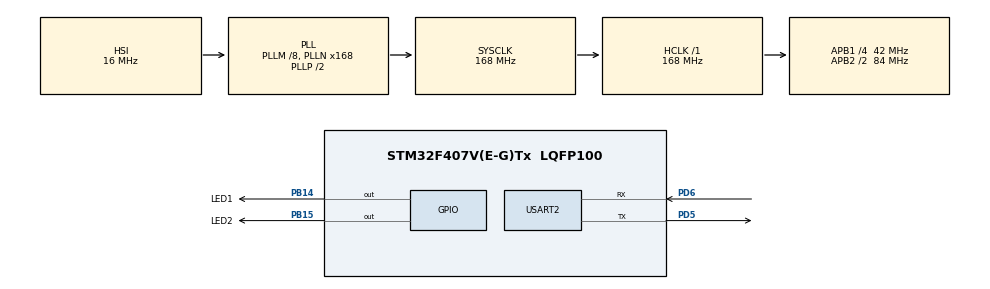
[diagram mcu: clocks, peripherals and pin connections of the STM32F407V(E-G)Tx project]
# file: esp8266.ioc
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Mcu.Family=STM32F4
Mcu.Name=STM32F407V(E-G)Tx
Mcu.Package=LQFP100
NVIC.PriorityGroup=NVIC_PRIORITYGROUP_4
NVIC.USART2_IRQn=true\:0\:0\:false\:false\:true\:true\:true
PA13.Mode=Serial_Wire
PA13.Signal=SYS_JTMS-SWDIO
PA14.Mode=Serial_Wire
PA14.Signal=SYS_JTCK-SWCLK
PB14.GPIO_Label=LED1
PB14.Signal=GPIO_Output
PB15.GPIO_Label=LED2
PB15.Signal=GPIO_Output
PD5.Mode=Asynchronous
PD5.Signal=USART2_TX
PD6.Mode=Asynchronous
PD6.Signal=USART2_RX
ProjectManager.HeapSize=0x200
ProjectManager.StackSize=0x400
ProjectManager.TargetToolchain=MDK-ARM V5.27
RCC.48MHZClocksFreq_Value=84000000
RCC.AHBFreq_Value=168000000
RCC.APB1CLKDivider=RCC_HCLK_DIV4
RCC.APB1Freq_Value=42000000
RCC.APB1TimFreq_Value=84000000
RCC.APB2CLKDivider=RCC_HCLK_DIV2
RCC.APB2Freq_Value=84000000
RCC.APB2TimFreq_Value=168000000
RCC.CortexFreq_Value=168000000
RCC.HCLKFreq_Value=168000000
RCC.HSE_VALUE=25000000
RCC.HSI_VALUE=16000000
RCC.LSE_VALUE=32768
RCC.PLLM=8
RCC.PLLN=168
RCC.SYSCLKFreq_VALUE=168000000
RCC.SYSCLKSource=RCC_SYSCLKSOURCE_PLLCLK
RCC.VCOOutputFreq_Value=336000000
USART2.VirtualMode=VM_ASYNC
board=custom

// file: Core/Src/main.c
/* USER CODE BEGIN Header */
/**
  ******************************************************************************
  * @file           : main.c
  * @brief          : Main program body
  ******************************************************************************
  * @attention
  *
  * <h2><center>&copy; Copyright (c) 2021 STMicroelectronics.
  * All rights reserved.</center></h2>
  *
  * This software component is licensed by ST under BSD 3-Clause license,
  * the "License"; You may not use this file except in compliance with the
  * License. You may obtain a copy of the License at:
  *                        opensource.org/licenses/BSD-3-Clause
  *
  ******************************************************************************
  */
/* USER CODE END Header */
#include "main.h"
#include "usart.h"
#include "gpio.h"

/* USER CODE BEGIN Includes */
#include "string.h"
#include "stdlib.h"
/* USER CODE END Includes */

/* USER CODE BEGIN PD */
#define Timeout 5000
/* USER CODE END PD */

/* USER CODE BEGIN PV */
extern UART_HandleTypeDef huart2;
uint8_t rx,rx_buff[500],count = 0,ok_flag = 0,led_flag = 0;
uint32_t tickstart;
char str[50],lenbuff[5];
char *a1,*a2;
int a3,len;
char ip[15],data_rec[20];
/* USER CODE END PV */

void SystemClock_Config(void);

/* USER CODE BEGIN 0 */
/**
  * @brief  Rx Transfer completed callbacks.
  * @param  huart  Pointer to a UART_HandleTypeDef structure that contains
  *                the configuration information for the specified UART module.
  * @retval None
  */
void HAL_UART_RxCpltCallback(UART_HandleTypeDef *huart)
{
		if(huart->Instance == USART2)
		{
			HAL_UART_Receive_IT(&huart2,&rx,1);
			rx_buff[count++] = rx;
			if(rx_buff[count - 1] == 0x0a && rx_buff[count - 2] == 0x0d && rx_buff[count - 3] == 'K' && rx_buff[count - 4] == 'O')
			{
			  ok_flag = 1;

			}

			if(strstr(rx_buff,"\r\n+IPD") && rx_buff[count - 1] == '+')
			{
				//,7:LED1_ON
				//,34:
				a1 = strstr(rx_buff,",");
				a2 = strstr(rx_buff,":");
				a3 = a2 - a1 -1;
				strncpy(lenbuff,a1+1,a3);
				len = atoi(lenbuff) -1;
				strncpy(data_rec,a2+1,len);
				led_flag = 1;

			}

		}
}

uint8_t ESP_SENDCOMMAND(char* command)
{
	HAL_UART_Transmit(&huart2,(uint8_t*)command,strlen(command),Timeout);
	tickstart = HAL_GetTick();
	while(ok_flag == 0 && (HAL_GetTick() - tickstart) < Timeout );
	if(ok_flag)
	{
		//get ip
		a1 = strstr(rx_buff,"APIP");
		if(a1)
		{
			a2 = a1 + 6;
			int i;
			for(i=0 ; i < 15 ;i++)
			 if(a2[i] == 0x22)
				 break;

		  strncpy(ip,a2,i);

		}

		//}
		//getip end

		//get data

		ok_flag = 0;
		count = 0;
		memset(rx_buff,0,sizeof(rx_buff));
		return 0;
	}
	else if((HAL_GetTick() - tickstart) >= Timeout)
	{
	  return 1;
	}

}

uint8_t ESP_INIT(void)
{
   sprintf(str,"AT+RST\r\n");
	 if(ESP_SENDCOMMAND(str)) return 1;
	 sprintf(str,"AT\r\n");
	 if(ESP_SENDCOMMAND(str)) return 1;

	 return 0;

}

uint8_t ESP_CONNECT_SERVER(void)
{
  sprintf(str,"AT+CWMODE=2\r\n");
	if(ESP_SENDCOMMAND(str)) return 1;
//	sprintf(str,"AT+CWJAP=\"naminic\",\"naminics\"\r\n");
//	if(ESP_SENDCOMMAND(str)) return 1;
	sprintf(str,"AT+CIFSR\r\n");
	if(ESP_SENDCOMMAND(str)) return 1;
	sprintf(str,"AT+CIPSTART=\"TCP\",\"192.168.4.2\",1000\r\n");
	if(ESP_SENDCOMMAND(str)) return 1;

}
/* USER CODE END 0 */

int main(void)
{

  /* MCU Configuration--------------------------------------------------------*/

  /* Reset of all peripherals, Initializes the Flash interface and the Systick. */
  HAL_Init();

  /* Configure the system clock */
  SystemClock_Config();

  /* Initialize all configured peripherals */
  MX_GPIO_Init();
  MX_USART2_UART_Init();
  /* USER CODE BEGIN 2 */
  HAL_UART_Receive_IT(&huart2,&rx,1);
  ESP_INIT();
	ESP_CONNECT_SERVER();
  /* USER CODE END 2 */

  /* Infinite loop */
  while (1)
  {

    /* USER CODE BEGIN 3 */
		if(led_flag)
		{
			if		 	(strstr(data_rec,"LED1_ON")) 	HAL_GPIO_WritePin(LED1_GPIO_Port,LED1_Pin,1);
			else if	(strstr(data_rec,"LED2_ON"))	HAL_GPIO_WritePin(LED2_GPIO_Port,LED2_Pin,1);
			else if	(strstr(data_rec,"LED1_OFF"))	HAL_GPIO_WritePin(LED1_GPIO_Port,LED1_Pin,0);
			else if	(strstr(data_rec,"LED2_OFF"))	HAL_GPIO_WritePin(LED2_GPIO_Port,LED2_Pin,0);

			led_flag = 0;
			count = 0;
		  memset(rx_buff,0,sizeof(rx_buff));

		}
  }
  /* USER CODE END 3 */
}

void SystemClock_Config(void)
{
  RCC_OscInitTypeDef RCC_OscInitStruct = {0};
  RCC_ClkInitTypeDef RCC_ClkInitStruct = {0};

  /** Configure the main internal regulator output voltage
  */
  __HAL_RCC_PWR_CLK_ENABLE();
  __HAL_PWR_VOLTAGESCALING_CONFIG(PWR_REGULATOR_VOLTAGE_SCALE1);
  /** Initializes the RCC Oscillators according to the specified parameters
  * in the RCC_OscInitTypeDef structure.
  */
  RCC_OscInitStruct.OscillatorType = RCC_OSCILLATORTYPE_HSI;
  RCC_OscInitStruct.HSIState = RCC_HSI_ON;
  RCC_OscInitStruct.HSICalibrationValue = RCC_HSICALIBRATION_DEFAULT;
  RCC_OscInitStruct.PLL.PLLState = RCC_PLL_ON;
  RCC_OscInitStruct.PLL.PLLSource = RCC_PLLSOURCE_HSI;
  RCC_OscInitStruct.PLL.PLLM = 8;
  RCC_OscInitStruct.PLL.PLLN = 168;
  RCC_OscInitStruct.PLL.PLLP = RCC_PLLP_DIV2;
  RCC_OscInitStruct.PLL.PLLQ = 4;
  if (HAL_RCC_OscConfig(&RCC_OscInitStruct) != HAL_OK)
  {
    Error_Handler();
  }
  /** Initializes the CPU, AHB and APB buses clocks
  */
  RCC_ClkInitStruct.ClockType = RCC_CLOCKTYPE_HCLK|RCC_CLOCKTYPE_SYSCLK
                              |RCC_CLOCKTYPE_PCLK1|RCC_CLOCKTYPE_PCLK2;
  RCC_ClkInitStruct.SYSCLKSource = RCC_SYSCLKSOURCE_PLLCLK;
  RCC_ClkInitStruct.AHBCLKDivider = RCC_SYSCLK_DIV1;
  RCC_ClkInitStruct.APB1CLKDivider = RCC_HCLK_DIV4;
  RCC_ClkInitStruct.APB2CLKDivider = RCC_HCLK_DIV2;

  if (HAL_RCC_ClockConfig(&RCC_ClkInitStruct, FLASH_LATENCY_5) != HAL_OK)
  {
    Error_Handler();
  }
}

void Error_Handler(void)
{
  __disable_irq();
  while (1)
  {
  }
}

/************************ (C) COPYRIGHT STMicroelectronics *****END OF FILE****/
